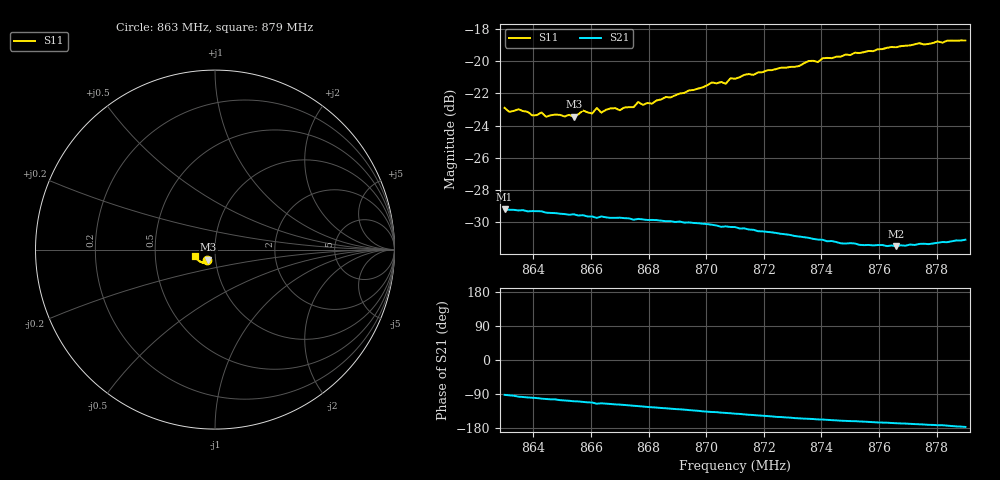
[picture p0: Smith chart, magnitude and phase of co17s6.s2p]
# HZ S RI R 50
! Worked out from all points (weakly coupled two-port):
!   101 points, 863 MHz to 879 MHz, reference 50 ohm
!   highest |S21| = -29.19 dB at 863 MHz (marker M1); lowest = -31.5 dB at 876.6 MHz (marker M2)
!   lowest |S11| = -23.4 dB at 865.4 MHz (marker M3), VSWR 1.14, Z = 46.2 - j5.25 ohm
!   |S11| at or under -10 dB: start of sweep to end of sweep
!   S12 and S22 are empty: the file has one direction only
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8.63e8  -0.0438 -0.0567  -0.00119 -0.0347  0 0  0 0
8.6396e8  -0.0405 -0.0545  -0.00573 -0.0338  0 0  0 0
8.6428e8  -0.0394 -0.0571  -0.0071 -0.0335  0 0  0 0
8.6444e8  -0.0387 -0.055  -0.0076 -0.033  0 0  0 0
8.654e8  -0.0363 -0.0566  -0.0108 -0.0317  0 0  0 0
8.6572e8  -0.0372 -0.0596  -0.0117 -0.0312  0 0  0 0
8.6604e8  -0.0351 -0.0592  -0.0125 -0.0305  0 0  0 0
8.662e8  -0.0386 -0.0603  -0.014 -0.0295  0 0  0 0
8.6636e8  -0.0363 -0.0589  -0.0135 -0.0301  0 0  0 0
8.6668e8  -0.0366 -0.0613  -0.0144 -0.0293  0 0  0 0
8.67e8  -0.0355 -0.0608  -0.0152 -0.029  0 0  0 0
8.6748e8  -0.0351 -0.0629  -0.0165 -0.0277  0 0  0 0
8.6764e8  -0.0383 -0.0641  -0.017 -0.0276  0 0  0 0
8.678e8  -0.036 -0.0637  -0.0175 -0.0272  0 0  0 0
8.6844e8  -0.0373 -0.0664  -0.0191 -0.0257  0 0  0 0
8.702e8  -0.0459 -0.0727  -0.0228 -0.0211  0 0  0 0
8.7068e8  -0.0469 -0.071  -0.0234 -0.0199  0 0  0 0
8.71e8  -0.0499 -0.0728  -0.024 -0.019  0 0  0 0
8.7372e8  -0.0689 -0.0728  -0.0256 -0.0115  0 0  0 0
8.7644e8  -0.0925 -0.0607  -0.026 -0.00639  0 0  0 0
8.766e8  -0.0932 -0.0592  -0.026 -0.00606  0 0  0 0
8.79e8  -0.1096 -0.0376  -0.0279 -0.00164  0 0  0 0
